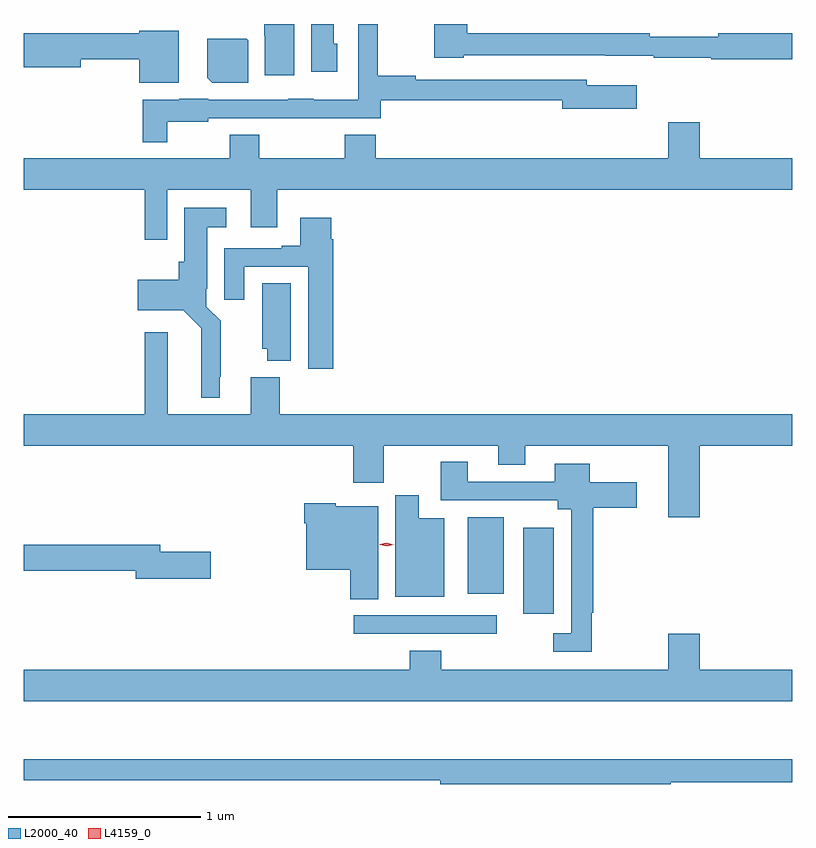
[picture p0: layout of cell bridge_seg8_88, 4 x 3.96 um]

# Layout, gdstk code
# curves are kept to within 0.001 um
import gdstk
lib = gdstk.Library(unit=1e-6, precision=1e-09)
def R(c, l, rs):  # rectangles x0, y0, x1, y1
    for r in rs: c.add(gdstk.rectangle(r[:2], r[2:], *l))
def P(c, l, *ps):  # polygons
    for p in ps: c.add(gdstk.Polygon(p, *l))
L2000_40 = (2000, 40)
L4159_0 = (4159, 0)

bridge_seg8_88 = lib.new_cell('bridge_seg8_88')
R(bridge_seg8_88, L2000_40, [(846.687,1104.864,847.432,1104.96), (847.568,1104.969,847.729,1105.417), (847.28,1105.073,847.468,1105.471)])
P(bridge_seg8_88, L2000_40, [(848.969,1107.992),(848.584,1107.992),(848.584,1107.973),(848.228,1107.973),(848.228,1107.992),(847.277,1107.992),(847.277,1108.04),(847.106,1108.04),(847.106,1107.863),(847.26,1107.863),(847.26,1107.876),(847.996,1107.876),(847.996,1107.875),(848.248,1107.875),(848.248,1107.864),(848.548,1107.864),(848.548,1107.856),(848.969,1107.856)],
  [(846.601,1107.936),(846.583,1107.936),(846.583,1108.04),(846.464,1108.04),(846.464,1107.792),(846.601,1107.792)],
  [(846.376,1108.04),(846.22,1108.04),(846.22,1107.978),(846.224,1107.978),(846.224,1107.774),(846.376,1107.774)],
  [(845.716,1107.53),(845.928,1107.53),(845.928,1107.549),(846.345,1107.549),(846.345,1107.548),(846.577,1107.548),(846.577,1107.549),(846.827,1107.549),(846.827,1107.642),(847.772,1107.642),(847.772,1107.599),(848.161,1107.599),(848.161,1107.721),(847.9,1107.721),(847.9,1107.75),(847.01,1107.75),(847.01,1107.77),(846.812,1107.77),(846.812,1108.04),(846.711,1108.04),(846.711,1107.646),(846.477,1107.646),(846.477,1107.652),(846.345,1107.652),(846.345,1107.645),(845.928,1107.645),(845.928,1107.652),(845.778,1107.652),(845.778,1107.646),(845.587,1107.646),(845.587,1107.425),(845.716,1107.425)],
  [(845.776,1108.006),(845.57,1108.006),(845.57,1107.992),(844.969,1107.992),(844.969,1107.814),(845.266,1107.814),(845.266,1107.856),(845.57,1107.856),(845.57,1107.734),(845.776,1107.734)],
  [(846.136,1107.956),(846.128,1107.964),(845.924,1107.964),(845.924,1107.76),(845.95,1107.734),(846.136,1107.734)],
  [(845.715,1107.176),(846.149,1107.176),(846.149,1106.982),(846.289,1106.982),(846.289,1107.176),(848.969,1107.176),(848.969,1107.34),(848.488,1107.34),(848.488,1107.529),(848.324,1107.529),(848.324,1107.34),(846.8,1107.34),(846.8,1107.464),(846.64,1107.464),(846.64,1107.34),(846.195,1107.34),(846.195,1107.464),(846.04,1107.464),(846.04,1107.34),(844.969,1107.34),(844.969,1107.176),(845.599,1107.176),(845.599,1106.916),(845.715,1106.916)],
  [(845.989,1106.203),(845.993,1106.203),(845.993,1106.494),(845.919,1106.568),(845.919,1106.662),(845.923,1106.662),(845.923,1106.981),(846.022,1106.981),(846.022,1107.082),(845.804,1107.082),(845.804,1106.802),(845.774,1106.802),(845.774,1106.707),(845.562,1106.707),(845.562,1106.549),(845.799,1106.549),(845.892,1106.456),(845.891,1106.093),(845.989,1106.093)],
  [(846.581,1106.918),(846.568,1106.918),(846.568,1107.031),(846.407,1107.031),(846.407,1106.884),(846.311,1106.884),(846.311,1106.871),(846.011,1106.871),(846.011,1106.604),(846.115,1106.604),(846.115,1106.775),(846.449,1106.775),(846.449,1106.244),(846.581,1106.244)],
  [(846.358,1106.69),(846.209,1106.69),(846.209,1106.349),(846.236,1106.349),(846.236,1106.285),(846.358,1106.285)],
  [(848.488,1105.844),(848.969,1105.844),(848.969,1106.008),(846.302,1106.008),(846.302,1106.2),(846.149,1106.2),(846.149,1106.008),(845.719,1106.008),(845.719,1106.434),(845.597,1106.434),(845.597,1106.008),(844.969,1106.008),(844.969,1105.844),(846.683,1105.844),(846.683,1105.65),(846.843,1105.65),(846.843,1105.844),(847.439,1105.844),(847.439,1105.745),(847.579,1105.745),(847.579,1105.844),(848.324,1105.844),(848.324,1105.47),(848.488,1105.47)],
  [(847.927,1104.974),(847.934,1104.974),(847.934,1105.52),(848.161,1105.52),(848.161,1105.654),(847.915,1105.654),(847.915,1105.75),(847.733,1105.75),(847.733,1105.656),(847.279,1105.656),(847.279,1105.759),(847.139,1105.759),(847.139,1105.56),(847.748,1105.56),(847.748,1105.514),(847.818,1105.514),(847.818,1104.867),(847.725,1104.867),(847.725,1104.771),(847.927,1104.771)],
  [(847.159,1105.465),(847.024,1105.465),(847.024,1105.585),(846.902,1105.585),(846.902,1105.058),(847.159,1105.058)],
  [(846.814,1105.528),(846.594,1105.528),(846.594,1105.543),(846.428,1105.543),(846.428,1105.439),(846.44,1105.439),(846.44,1105.199),(846.668,1105.199),(846.668,1105.045),(846.814,1105.045)],
  [(845.941,1105.292),(845.68,1105.292),(845.68,1105.328),(844.969,1105.328),(844.969,1105.192),(845.552,1105.192),(845.552,1105.15),(845.941,1105.15)],
  [(848.969,1104.676),(848.488,1104.676),(848.488,1104.865),(848.324,1104.865),(848.324,1104.676),(847.142,1104.676),(847.142,1104.775),(846.977,1104.775),(846.977,1104.676),(844.969,1104.676),(844.969,1104.512),(848.969,1104.512)],
  [(848.338,1104.09),(848.969,1104.09),(848.969,1104.211),(844.969,1104.211),(844.969,1104.102),(846.886,1104.102),(846.886,1104.101),(847.138,1104.101),(847.138,1104.082),(848.338,1104.082)])
P(bridge_seg8_88, L4159_0, [(846.858,1105.319),(846.822,1105.329),(846.822,1105.329),(846.822,1105.33),(846.858,1105.339),(846.894,1105.329),(846.895,1105.329),(846.894,1105.329)])

lib.write_gds('bridge_seg8_88.gds')
